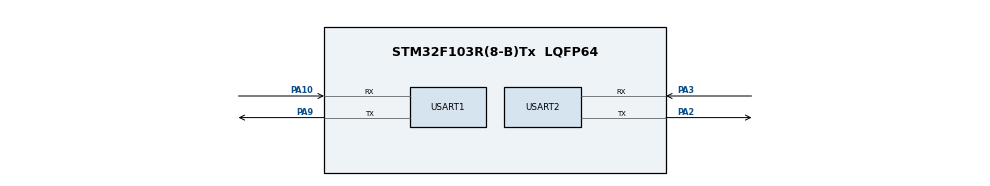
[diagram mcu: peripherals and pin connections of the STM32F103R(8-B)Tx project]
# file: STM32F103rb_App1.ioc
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Dma.Request0=USART2_RX
Dma.USART2_RX.0.Direction=DMA_PERIPH_TO_MEMORY
Dma.USART2_RX.0.Instance=DMA1_Channel6
Dma.USART2_RX.0.MemDataAlignment=DMA_MDATAALIGN_BYTE
Dma.USART2_RX.0.MemInc=DMA_MINC_ENABLE
Dma.USART2_RX.0.Mode=DMA_NORMAL
Dma.USART2_RX.0.PeriphDataAlignment=DMA_PDATAALIGN_BYTE
Dma.USART2_RX.0.PeriphInc=DMA_PINC_DISABLE
Dma.USART2_RX.0.Priority=DMA_PRIORITY_LOW
Mcu.Family=STM32F1
Mcu.Name=STM32F103R(8-B)Tx
Mcu.Package=LQFP64
NVIC.DMA1_Channel6_IRQn=true\:0\:0\:false\:false\:true\:false\:true
NVIC.PriorityGroup=NVIC_PRIORITYGROUP_4
NVIC.USART2_IRQn=true\:1\:0\:true\:false\:true\:true\:true
PA10.Mode=Asynchronous
PA10.Signal=USART1_RX
PA13.Mode=Serial_Wire
PA13.Signal=SYS_JTMS-SWDIO
PA14.Mode=Serial_Wire
PA14.Signal=SYS_JTCK-SWCLK
PA2.Mode=Asynchronous
PA2.Signal=USART2_TX
PA3.Mode=Asynchronous
PA3.Signal=USART2_RX
PA9.Mode=Asynchronous
PA9.Signal=USART1_TX
PD0-OSC_IN.Mode=HSE-External-Oscillator
PD0-OSC_IN.Signal=RCC_OSC_IN
PD1-OSC_OUT.Mode=HSE-External-Oscillator
PD1-OSC_OUT.Signal=RCC_OSC_OUT
ProjectManager.HeapSize=0x200
ProjectManager.StackSize=0x400
ProjectManager.TargetToolchain=MDK-ARM V5.27
RCC.AHBFreq_Value=72000000
RCC.APB1CLKDivider=RCC_HCLK_DIV2
RCC.APB1Freq_Value=36000000
RCC.APB1TimFreq_Value=72000000
RCC.APB2Freq_Value=72000000
RCC.APB2TimFreq_Value=72000000
RCC.HCLKFreq_Value=72000000
RCC.PLLMUL=RCC_PLL_MUL9
RCC.PLLSourceVirtual=RCC_PLLSOURCE_HSE
RCC.SYSCLKFreq_VALUE=72000000
RCC.SYSCLKSource=RCC_SYSCLKSOURCE_PLLCLK
RCC.USBFreq_Value=72000000
USART1.VirtualMode=VM_ASYNC
USART2.VirtualMode=VM_ASYNC
board=custom

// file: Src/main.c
/* USER CODE BEGIN Header */
/**
 ******************************************************************************
 * @file           : main.c
 * @brief          : Main program body
 ******************************************************************************
 * @attention
 *
 * <h2><center>&copy; Copyright (c) 2019 STMicroelectronics.
 * All rights reserved.</center></h2>
 *
 * This software component is licensed by ST under BSD 3-Clause license,
 * the "License"; You may not use this file except in compliance with the
 * License. You may obtain a copy of the License at:
 *                        opensource.org/licenses/BSD-3-Clause
 *
 ******************************************************************************
 */
/* USER CODE END Header */

#include "main.h"

/* USER CODE BEGIN Includes */
#include "stdio.h"
#include "leaf_ota_app.h"
/* USER CODE END Includes */

UART_HandleTypeDef huart1;
UART_HandleTypeDef huart2;
DMA_HandleTypeDef  hdma_usart2_rx;

void        SystemClock_Config( void );
static void MX_GPIO_Init( void );
static void MX_DMA_Init( void );
static void MX_USART1_UART_Init( void );
static void MX_USART2_UART_Init( void );

/* USER CODE BEGIN 0 */

uint8_t  Rx_Flag          = 0;
uint16_t Rx_Len           = 0;
uint8_t  Rx_Buf[ Rx_Max ] = { 0 };

int fputc( int ch, FILE* f ) {
    HAL_UART_Transmit( &huart1, ( uint8_t* )&ch, 1, 0xFFFF );
    return ch;
}

/* USER CODE END 0 */

int main( void ) {
    /* USER CODE BEGIN 1 */

    //	__disable_irq();
    SCB->VTOR = FLASH_BASE | Application_1_Addr; /* 更改中断向量表地址 */
                                                 //	__enable_irq();

    /* USER CODE END 1 */

    /* MCU Configuration--------------------------------------------------------*/

    /* Reset of all peripherals, Initializes the Flash interface and the Systick. */
    HAL_Init();

    /* Configure the system clock */
    SystemClock_Config();

    /* Initialize all configured peripherals */
    MX_GPIO_Init();
    MX_DMA_Init();
    MX_USART1_UART_Init();
    MX_USART2_UART_Init();
    /* USER CODE BEGIN 2 */
    /*Enable DMA IRQ*/
    HAL_UART_Receive_DMA( &huart2, Rx_Buf, Rx_Max );
    __HAL_UART_ENABLE_IT( &huart2, UART_IT_IDLE );

    /* USER CODE END 2 */

    /* Infinite loop */
    /* USER CODE BEGIN WHILE */

    printf( "\r\n" );
    printf( "***********************************\r\n" );
    printf( "*                                 *\r\n" );
    printf( "*        Version : 0.0.0          *\r\n" );
    printf( "*                                 *\r\n" );
    printf( "***************** by Leaf_Fruit ***\r\n" );

    while ( 1 ) {
        /* USER CODE END WHILE */

        /* USER CODE BEGIN 3 */
        leaf_ota_app();
    }
    /* USER CODE END 3 */
}

void SystemClock_Config( void ) {
    RCC_OscInitTypeDef RCC_OscInitStruct = { 0 };
    RCC_ClkInitTypeDef RCC_ClkInitStruct = { 0 };

    /** Initializes the CPU, AHB and APB busses clocks
     */
    RCC_OscInitStruct.OscillatorType = RCC_OSCILLATORTYPE_HSE;
    RCC_OscInitStruct.HSEState       = RCC_HSE_ON;
    RCC_OscInitStruct.HSEPredivValue = RCC_HSE_PREDIV_DIV1;
    RCC_OscInitStruct.HSIState       = RCC_HSI_ON;
    RCC_OscInitStruct.PLL.PLLState   = RCC_PLL_ON;
    RCC_OscInitStruct.PLL.PLLSource  = RCC_PLLSOURCE_HSE;
    RCC_OscInitStruct.PLL.PLLMUL     = RCC_PLL_MUL9;
    if ( HAL_RCC_OscConfig( &RCC_OscInitStruct ) != HAL_OK ) {
        Error_Handler();
    }
    /** Initializes the CPU, AHB and APB busses clocks
     */
    RCC_ClkInitStruct.ClockType      = RCC_CLOCKTYPE_HCLK | RCC_CLOCKTYPE_SYSCLK | RCC_CLOCKTYPE_PCLK1 | RCC_CLOCKTYPE_PCLK2;
    RCC_ClkInitStruct.SYSCLKSource   = RCC_SYSCLKSOURCE_PLLCLK;
    RCC_ClkInitStruct.AHBCLKDivider  = RCC_SYSCLK_DIV1;
    RCC_ClkInitStruct.APB1CLKDivider = RCC_HCLK_DIV2;
    RCC_ClkInitStruct.APB2CLKDivider = RCC_HCLK_DIV1;

    if ( HAL_RCC_ClockConfig( &RCC_ClkInitStruct, FLASH_LATENCY_2 ) != HAL_OK ) {
        Error_Handler();
    }
}

static void MX_USART1_UART_Init( void ) {

    huart1.Instance          = USART1;
    huart1.Init.BaudRate     = 115200;
    huart1.Init.WordLength   = UART_WORDLENGTH_8B;
    huart1.Init.StopBits     = UART_STOPBITS_1;
    huart1.Init.Parity       = UART_PARITY_NONE;
    huart1.Init.Mode         = UART_MODE_TX_RX;
    huart1.Init.HwFlowCtl    = UART_HWCONTROL_NONE;
    huart1.Init.OverSampling = UART_OVERSAMPLING_16;
    if ( HAL_UART_Init( &huart1 ) != HAL_OK ) {
        Error_Handler();
    }
}

static void MX_USART2_UART_Init( void ) {

    huart2.Instance          = USART2;
    huart2.Init.BaudRate     = 115200;
    huart2.Init.WordLength   = UART_WORDLENGTH_8B;
    huart2.Init.StopBits     = UART_STOPBITS_1;
    huart2.Init.Parity       = UART_PARITY_NONE;
    huart2.Init.Mode         = UART_MODE_TX_RX;
    huart2.Init.HwFlowCtl    = UART_HWCONTROL_NONE;
    huart2.Init.OverSampling = UART_OVERSAMPLING_16;
    if ( HAL_UART_Init( &huart2 ) != HAL_OK ) {
        Error_Handler();
    }
}

static void MX_DMA_Init( void ) {

    /* DMA controller clock enable */
    __HAL_RCC_DMA1_CLK_ENABLE();

    /* DMA interrupt init */
    /* DMA1_Channel6_IRQn interrupt configuration */
    HAL_NVIC_SetPriority( DMA1_Channel6_IRQn, 0, 0 );
    HAL_NVIC_EnableIRQ( DMA1_Channel6_IRQn );
}

static void MX_GPIO_Init( void ) {

    /* GPIO Ports Clock Enable */
    __HAL_RCC_GPIOD_CLK_ENABLE();
    __HAL_RCC_GPIOA_CLK_ENABLE();
}

void Error_Handler( void ) {
}

/************************ (C) COPYRIGHT STMicroelectronics *****END OF FILE****/
